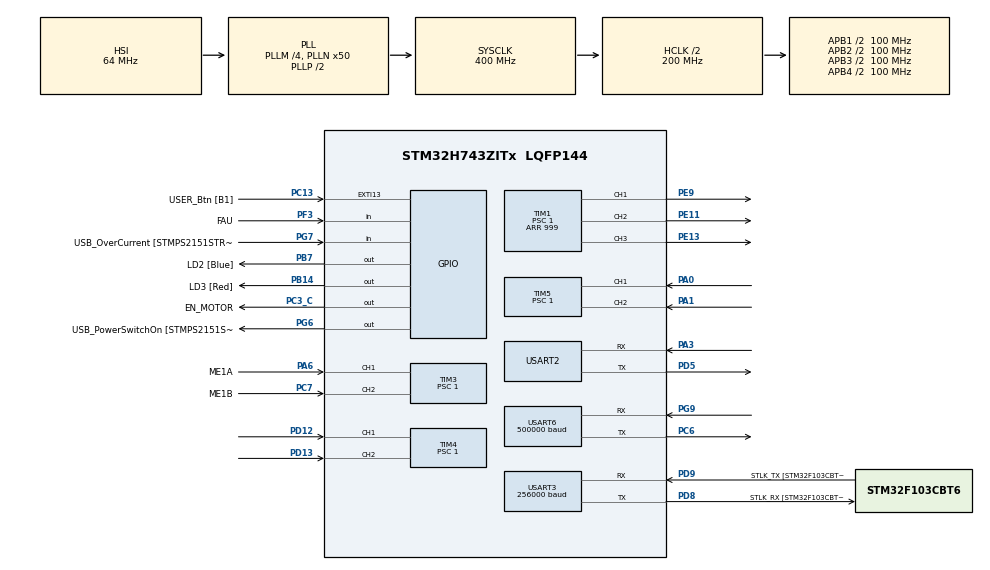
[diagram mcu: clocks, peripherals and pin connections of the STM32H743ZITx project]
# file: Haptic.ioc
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Mcu.Family=STM32H7
Mcu.Name=STM32H743ZITx
Mcu.Package=LQFP144
NVIC.EXTI15_10_IRQn=true\:2\:1\:true\:false\:true\:true\:true
NVIC.PriorityGroup=NVIC_PRIORITYGROUP_2
NVIC.TIM16_IRQn=true\:3\:2\:true\:false\:true\:true\:true
NVIC.TIM3_IRQn=true\:1\:0\:true\:false\:true\:true\:true
NVIC.TIM4_IRQn=true\:1\:0\:true\:false\:true\:true\:true
NVIC.TIM5_IRQn=true\:1\:0\:true\:false\:true\:true\:true
NVIC.TIM8_TRG_COM_TIM14_IRQn=true\:2\:0\:true\:false\:true\:true\:true
NVIC.USART2_IRQn=true\:2\:0\:true\:false\:true\:true\:true
NVIC.USART3_IRQn=true\:3\:0\:true\:false\:true\:true\:true
NVIC.USART6_IRQn=true\:2\:3\:true\:false\:true\:true\:true
PA0.Signal=S_TIM5_CH1
PA1.Signal=S_TIM5_CH2
PA10.GPIO_Label=USB_ID
PA10.Signal=USB_OTG_FS_ID
PA11.GPIO_Label=USB_DM
PA11.Signal=USB_OTG_FS_DM
PA12.GPIO_Label=USB_DP
PA12.Signal=USB_OTG_FS_DP
PA3.Mode=Asynchronous
PA3.Signal=USART2_RX
PA6.GPIO_Label=ME1A
PA6.Signal=S_TIM3_CH1
PA7.GPIO_Label=RMII_CRS_DV
PA7.Signal=ETH_CRS_DV
PA8.GPIO_Label=USB_SOF [TP1]
PA8.Signal=USB_OTG_FS_SOF
PA9.GPIO_Label=USB_VBUS
PA9.Signal=USB_OTG_FS_VBUS
PB13.GPIO_Label=RMII_TXD1
PB13.Signal=ETH_TXD1
PB14.GPIO_Label=LD3 [Red]
PB14.Signal=GPIO_Output
PB7.GPIO_Label=LD2 [Blue]
PB7.Signal=GPIO_Output
PC1.GPIO_Label=RMII_MDC
PC1.Signal=ETH_MDC
PC13.GPIO_Label=USER_Btn [B1]
PC13.Signal=GPXTI13
PC14-OSC32_IN\ (OSC32_IN).Signal=RCC_OSC32_IN
PC15-OSC32_OUT\ (OSC32_OUT).Signal=RCC_OSC32_OUT
PC3_C.GPIO_Label=EN_MOTOR
PC3_C.Signal=GPIO_Output
PC4.GPIO_Label=RMII_RXD0
PC4.Signal=ETH_RXD0
PC5.GPIO_Label=RMII_RXD1
PC5.Signal=ETH_RXD1
PC6.Mode=Asynchronous
PC6.Signal=USART6_TX
PC7.GPIO_Label=ME1B
PC7.Signal=S_TIM3_CH2
PD12.Signal=S_TIM4_CH1
PD13.Signal=S_TIM4_CH2
PD5.Mode=Asynchronous
PD5.Signal=USART2_TX
PD8.GPIO_Label=STLK_RX [STM32F103CBT6_PA3]
PD8.Mode=Asynchronous
PD8.Signal=USART3_TX
PD9.GPIO_Label=STLK_TX [STM32F103CBT6_PA2]
PD9.Mode=Asynchronous
PD9.Signal=USART3_RX
PE11.Signal=S_TIM1_CH2
PE13.Signal=S_TIM1_CH3
PE9.Signal=S_TIM1_CH1
PF3.GPIO_Label=FAU
PF3.Signal=GPIO_Input
PG11.GPIO_Label=RMII_TX_EN
PG11.Signal=ETH_TX_EN
PG13.GPIO_Label=RMII_TXD0
PG13.Signal=ETH_TXD0
PG6.GPIO_Label=USB_PowerSwitchOn [STMPS2151STR_EN]
PG6.Signal=GPIO_Output
PG7.GPIO_Label=USB_OverCurrent [STMPS2151STR_FAULT]
PG7.Signal=GPIO_Input
PG9.Mode=Asynchronous
PG9.Signal=USART6_RX
PH0-OSC_IN\ (PH0).GPIO_Label=MCO
PH0-OSC_IN\ (PH0).Signal=RCC_OSC_IN
ProjectManager.HeapSize=0x400
ProjectManager.StackSize=0x2B00
ProjectManager.TargetToolchain=MDK-ARM V5
RCC.48MHZClocksFreq_Value=24000000
RCC.ADCFreq_Value=129000000
RCC.AHBFreq_Value=216000000
RCC.APB1CLKDivider=RCC_HCLK_DIV4
RCC.APB1Freq_Value=100000000
RCC.APB1TimFreq_Value=108000000
RCC.APB2CLKDivider=RCC_HCLK_DIV2
RCC.APB2Freq_Value=100000000
RCC.APB2TimFreq_Value=216000000
RCC.APB3Freq_Value=100000000
RCC.APB4Freq_Value=100000000
RCC.CortexFreq_Value=400000000
RCC.D1PPRE=RCC_APB3_DIV2
RCC.D2PPRE1=RCC_APB1_DIV2
RCC.D2PPRE2=RCC_APB2_DIV2
RCC.D3PPRE=RCC_APB4_DIV2
RCC.DIVM1=4
RCC.DIVN1=50
RCC.DIVQ1=4
RCC.HCLKFreq_Value=200000000
RCC.HPRE=RCC_HCLK_DIV2
RCC.HSE_VALUE=8000000
RCC.HSI_VALUE=64000000
RCC.PLLM=25
RCC.PLLMUL=RCC_PLL_MUL9
RCC.PLLN=432
RCC.PLLQ=9
RCC.PRESCALERUSB=RCC_USBCLKSOURCE_PLL_DIV1_5
RCC.PWR_Regulator_Voltage_Scale=PWR_REGULATOR_VOLTAGE_SCALE1
RCC.SYSCLKFreq_VALUE=400000000
RCC.SYSCLKSource=RCC_SYSCLKSOURCE_PLLCLK
RCC.SYSCLKSourceVirtual=RCC_SYSCLKSOURCE_PLLCLK
RCC.USBFreq_Value=200000000
RCC.VCOOutputFreq_Value=432000000
SH.S_TIM1_CH1.0=TIM1_CH1,PWM Generation1 CH1
SH.S_TIM1_CH2.0=TIM1_CH2,PWM Generation2 CH2
SH.S_TIM1_CH3.0=TIM1_CH3,PWM Generation3 CH3
SH.S_TIM3_CH1.0=TIM3_CH1,Encoder_Interface
SH.S_TIM3_CH2.0=TIM3_CH2,Encoder_Interface
SH.S_TIM4_CH1.0=TIM4_CH1,Encoder_Interface
SH.S_TIM4_CH2.0=TIM4_CH2,Encoder_Interface
SH.S_TIM5_CH1.0=TIM5_CH1,Encoder_Interface
SH.S_TIM5_CH2.0=TIM5_CH2,Encoder_Interface
TIM1.Channel-PWM\ Generation1\ CH1=TIM_CHANNEL_1
TIM1.Channel-PWM\ Generation2\ CH2=TIM_CHANNEL_2
TIM1.Channel-PWM\ Generation3\ CH3=TIM_CHANNEL_3
TIM1.OCPolarity_2=TIM_OCPOLARITY_LOW
TIM1.Period=999
TIM1.Prescaler=1
TIM1.Pulse-PWM\ Generation1\ CH1=500
TIM1.Pulse-PWM\ Generation2\ CH2=500
TIM1.Pulse-PWM\ Generation3\ CH3=500
TIM14.Period=249
TIM14.Prescaler=199
TIM16.Period=999
TIM16.Prescaler=1999
TIM3.EncoderMode=TIM_ENCODERMODE_TI12
TIM3.IC1Filter=5
TIM3.IC2Filter=5
TIM3.Period=65535
TIM3.Prescaler=1
TIM4.EncoderMode=TIM_ENCODERMODE_TI12
TIM4.IC1Filter=5
TIM4.IC2Filter=5
TIM4.Period=65535
TIM4.Prescaler=1
TIM5.EncoderMode=TIM_ENCODERMODE_TI12
TIM5.IC1Filter=5
TIM5.IC2Filter=5
TIM5.Period=65535
TIM5.Prescaler=1
USART2.VirtualMode-Asynchronous=VM_ASYNC
USART3.BaudRate=256000
USART3.VirtualMode-Asynchronous=VM_ASYNC
USART6.BaudRate=500000
USART6.DMADisableonRxErrorParam=ADVFEATURE_DMA_DISABLEONRXERROR
USART6.VirtualMode-Asynchronous=VM_ASYNC
VP_TIM14_VS_ClockSourceINT.Mode=Enable_Timer
VP_TIM16_VS_ClockSourceINT.Mode=Enable_Timer
board=NUCLEO-H743ZI

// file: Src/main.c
/* USER CODE BEGIN Header */
/**
  ******************************************************************************
  * @file           : main.c
  * @brief          : Main program body
  ******************************************************************************
  ** This notice applies to any and all portions of this file
  * that are not between comment pairs USER CODE BEGIN and
  * USER CODE END. Other portions of this file, whether
  * inserted by the user or by software development tools
  * are owned by their respective copyright owners.
  *
  * COPYRIGHT(c) 2018 STMicroelectronics
  *
  * Redistribution and use in source and binary forms, with or without modification,
  * are permitted provided that the following conditions are met:
  *   1. Redistributions of source code must retain the above copyright notice,
  *      this list of conditions and the following disclaimer.
  *   2. Redistributions in binary form must reproduce the above copyright notice,
  *      this list of conditions and the following disclaimer in the documentation
  *      and/or other materials provided with the distribution.
  *   3. Neither the name of STMicroelectronics nor the names of its contributors
  *      may be used to endorse or promote products derived from this software
  *      without specific prior written permission.
  *
  * THIS SOFTWARE IS PROVIDED BY THE COPYRIGHT HOLDERS AND CONTRIBUTORS "AS IS"
  * AND ANY EXPRESS OR IMPLIED WARRANTIES, INCLUDING, BUT NOT LIMITED TO, THE
  * IMPLIED WARRANTIES OF MERCHANTABILITY AND FITNESS FOR A PARTICULAR PURPOSE ARE
  * DISCLAIMED. IN NO EVENT SHALL THE COPYRIGHT HOLDER OR CONTRIBUTORS BE LIABLE
  * FOR ANY DIRECT, INDIRECT, INCIDENTAL, SPECIAL, EXEMPLARY, OR CONSEQUENTIAL
  * DAMAGES (INCLUDING, BUT NOT LIMITED TO, PROCUREMENT OF SUBSTITUTE GOODS OR
  * SERVICES; LOSS OF USE, DATA, OR PROFITS; OR BUSINESS INTERRUPTION) HOWEVER
  * CAUSED AND ON ANY THEORY OF LIABILITY, WHETHER IN CONTRACT, STRICT LIABILITY,
  * OR TORT (INCLUDING NEGLIGENCE OR OTHERWISE) ARISING IN ANY WAY OUT OF THE USE
  * OF THIS SOFTWARE, EVEN IF ADVISED OF THE POSSIBILITY OF SUCH DAMAGE.
  *
  ******************************************************************************
  */
/* USER CODE END Header */

#include "main.h"
#include "tim.h"
#include "usart.h"
#include "gpio.h"

/* USER CODE BEGIN PTD */
#define __FPU_PRESENT 1		//FPU present
/* USER CODE END PTD */

/* USER CODE BEGIN PV */
Moter_t M1,M2,M3;
Ctrl_t	Ctrl,CtrlM1,CtrlM2,CtrlM3;	//Ctrl 控制的总结构体  CtrlM1..M3  电机控制结构体

unsigned int gErrorStatus;	//全局变量   用来显示错误提示
double Val_1,Val_2;

extern uint8_t RXBuffer[1];
extern uint8_t RXBuffer_3[1];
extern uint8_t RXBuffer_6[RxSize];

extern int Data1[],Data2[];
extern char FlagRecord,FlagPrint,FlagDebug;
extern unsigned int DataNumm;
extern unsigned char Uart3FeedBackData[];

extern var_t var;
extern var_q varq;
extern var_q TempLq;
extern force_t F1,F2,F3;
extern MotorGriverForce_t MotorForce;
extern char CalcOverFlag;

uint32_t FLASH_Address = 0, PageError = 0;
__IO uint32_t data32 = 0 , MemoryProgramStatus = 0;

unsigned int FLASH_Store[FLASHSIZE];	//修改FLASH时临时存储数组
unsigned int FLASH_Init[FLASHSIZE]={
	0,	//产品型号											1
	0,	//软件版本											2
	0,	//机械结构版本										3
	0,	//电路硬件版本										4

//状态参数
	500,	//PWMMID-ui  	电机零扭力参考PWM值					5
	15,	//PULL_PWM-ui	电机同向推拉时 增加的pwm值			6
	28,	//SigPWMPulse-ui 检测到转动后  单电机摩擦力补偿		7
	30,	//StopPwm-ui	检测到静止时  正反向的摩擦力波动	8
	88,	//PLPH_Para_k-f	推拉随速度变化力补偿值 一次函数 k值	9
	4,	//PLPH_Para_b-i										10
			//return (float)(0.PLPH_Para_k*sp+PLPH_Para_b);  返回本项计算PWM值
	11,	//Griver_Para-f	  重力补偿  电机力 mN 和 PWM之间的对应关系	11
	40,	//InertiaPara-f   惯性力计算 与加速度相乘的系数		12
	0x00,	//LED1Blue

	0x00,	//Led2Red		14
	0x00,
	0x00,

	0x00,	//Led3Red		17
	0x00,

	0x00,	//HardWare Version	29
	0x00,	//SoftWare Version	30
	0x00,	//HardWare Version	29
	0x00,	//SoftWare Version	30
	0x00,	//HardWare Version	29
	0x00	//SoftWare Version	30
};

const unsigned int TEXT_Buffer[]={0x00,0x02,0x03,0x55,0x78,0x56};
#define TEXT_LENTH sizeof(TEXT_Buffer)	 		  	//数组长度
#define SIZE TEXT_LENTH/4+((TEXT_LENTH%4)?1:0)

#define FLASH_SAVE_ADDR  0X08020000 	//设置FLASH 保存地址(必须为4的倍数，且所在扇区,要大于本代码所占用到的扇区.
										//否则,写操作的时候,可能会导致擦除整个扇区,从而引起部分程序丢失.引起死机.

/* USER CODE END PV */

void SystemClock_Config(void);

int main(void)
{

  /* MCU Configuration--------------------------------------------------------*/

  /* Reset of all peripherals, Initializes the Flash interface and the Systick. */
  HAL_Init();

  /* Configure the system clock */
  SystemClock_Config();

  /* Initialize all configured peripherals */
  MX_GPIO_Init();
  MX_USART2_UART_Init();
  MX_TIM1_Init();
  MX_TIM3_Init();
  MX_TIM14_Init();
  MX_TIM4_Init();
  MX_TIM5_Init();
  MX_USART3_UART_Init();
  MX_TIM16_Init();
  MX_USART6_UART_Init();
  /* USER CODE BEGIN 2 */
  	HAL_UART_Receive_IT(&huart2, (uint8_t *)RXBuffer, 1); //打开中断接收
	HAL_UART_Receive_IT(&huart3, (uint8_t *)RXBuffer_3, 1); //打开中断接收
	HAL_UART_Receive_IT(&huart6, (uint8_t *)RXBuffer_6, 1); //打开中断接收
	//HAL_UART_Receive_DMA(&huart6, (uint8_t *)&RXBuffer_6, RxSize);// 打开DMA接收数据

	HAL_TIM_Base_Start_IT(&htim3);
	HAL_TIM_Base_Start_IT(&htim4);
	HAL_TIM_Base_Start_IT(&htim5);

	HAL_TIM_PWM_Start(&htim1,TIM_CHANNEL_1);
	HAL_TIM_PWM_Start(&htim1,TIM_CHANNEL_2);
	HAL_TIM_PWM_Start(&htim1,TIM_CHANNEL_3);

	ParaInit();
	char mm,Flag_blank = 0;	//FLASH是否为空白  标志	;
	int Flash_Value;
	 HAL_StatusTypeDef FlashStatus=HAL_OK;
	FLASH_Address = FLASH_USER_START_ADDR;
	for(mm=0;mm<FLASHSIZE;mm++)	{
			Flash_Value = *(int*)(FLASH_USER_START_ADDR+(mm)*4);
			if((Flash_Value==-1)&&(Flag_blank==0))
				Flag_blank = 0;		//此FLASH区域为空白
			else 	{
				Flag_blank = 1;  //非空白
				break;
			}
		}
	if(Flag_blank==0)	{
		STMFLASH_Write(FLASH_USER_START_ADDR,(u32*)FLASH_Init,FLASHSIZE);
	}

	HAL_Delay(20);

	HAL_TIM_Base_Start_IT(&htim14); //最后开启250us中断处理
	HAL_TIM_Base_Start_IT(&htim16); //开启10ms的 重力补偿中断

  /* USER CODE END 2 */

  /* Infinite loop */
  /* USER CODE BEGIN WHILE */

//  CalcTest();
//  while(1);

//	KinematicTest();

	unsigned int numm,kk;
//  for(numm=0;numm<20;numm++)
//	{
//		HAL_GPIO_WritePin(LD2_GPIO_Port,LD2_Pin,GPIO_PIN_SET);
//		for(kk=0;kk<10;kk++)
//		{
//				varq.q1 = 271;  varq.q2 = 251; varq.q3 = 281;
//				ForwardKinematic();
//				CPointSolve(var);
//				FbSolve();
//	//			CtrlM1.Gravity = F1.Fx;
//	//			CtrlM2.Gravity = F2.Fx;
//	//			CtrlM3.Gravity = F3.Fx;
//		}
//		HAL_GPIO_WritePin(LD2_GPIO_Port,LD2_Pin,GPIO_PIN_RESET);
//
//		HAL_Delay(1);
//		printf("F1 = %6.3f  F2 = %6.3f  F3 = %6.3f \n",F1.Fx,F2.Fx,F3.Fx);
//		PrintVarStruct(var,varq);
//	}

  while (1)
  {
	  HAL_GPIO_WritePin(LD2_GPIO_Port,LD2_Pin,GPIO_PIN_SET);
	  HAL_Delay(200);
	  HAL_GPIO_WritePin(LD2_GPIO_Port,LD2_Pin,GPIO_PIN_RESET);
	  HAL_Delay(200);

	  if(FlagPrint==1&&FlagDebug==1)
	  {
		  BoardEn(0);
		  FlagPrint = 0;
		  FlagRecord = 0;
		  FlagDebug = 0;
		  DataNumm = 0;
		 //关闭定时器中断
		  HAL_TIM_Base_Stop_IT(&htim14);
		  for(numm=0;numm<DataNum;numm++)	{
			printf("   %3d   %4d  %4d \n",numm,Data1[numm],Data2[numm]);
		  }
		  printf("数据输出完毕！ \n");
		  for(numm=0;numm<DataNum;numm++)	{
			  Data1[numm] = 0;
			  Data2[numm] = 0;
		  }
		  HAL_TIM_Base_Start_IT(&htim14); //最后开启250us中断处理
	  }

//	  M2.EnCounter = (M2.EnOverflowNum)*ENCODER_NUM+( int16_t )__HAL_TIM_GET_COUNTER(&htim3);
    /* USER CODE END WHILE */

  }
}

void SystemClock_Config(void)
{
  RCC_OscInitTypeDef RCC_OscInitStruct = {0};
  RCC_ClkInitTypeDef RCC_ClkInitStruct = {0};
  RCC_PeriphCLKInitTypeDef PeriphClkInitStruct = {0};

  /** Supply configuration update enable
  */
  HAL_PWREx_ConfigSupply(PWR_LDO_SUPPLY);
  /** Configure the main internal regulator output voltage
  */
  __HAL_PWR_VOLTAGESCALING_CONFIG(PWR_REGULATOR_VOLTAGE_SCALE1);

  while(!__HAL_PWR_GET_FLAG(PWR_FLAG_VOSRDY)) {}
  /** Initializes the CPU, AHB and APB busses clocks
  */
  RCC_OscInitStruct.OscillatorType = RCC_OSCILLATORTYPE_HSI;
  RCC_OscInitStruct.HSIState = RCC_HSI_DIV1;
  RCC_OscInitStruct.HSICalibrationValue = RCC_HSICALIBRATION_DEFAULT;
  RCC_OscInitStruct.PLL.PLLState = RCC_PLL_ON;
  RCC_OscInitStruct.PLL.PLLSource = RCC_PLLSOURCE_HSI;
  RCC_OscInitStruct.PLL.PLLM = 4;
  RCC_OscInitStruct.PLL.PLLN = 50;
  RCC_OscInitStruct.PLL.PLLP = 2;
  RCC_OscInitStruct.PLL.PLLQ = 4;
  RCC_OscInitStruct.PLL.PLLR = 2;
  RCC_OscInitStruct.PLL.PLLRGE = RCC_PLL1VCIRANGE_3;
  RCC_OscInitStruct.PLL.PLLVCOSEL = RCC_PLL1VCOWIDE;
  RCC_OscInitStruct.PLL.PLLFRACN = 0;
  if (HAL_RCC_OscConfig(&RCC_OscInitStruct) != HAL_OK)
  {
    Error_Handler();
  }
  /** Initializes the CPU, AHB and APB busses clocks
  */
  RCC_ClkInitStruct.ClockType = RCC_CLOCKTYPE_HCLK|RCC_CLOCKTYPE_SYSCLK
                              |RCC_CLOCKTYPE_PCLK1|RCC_CLOCKTYPE_PCLK2
                              |RCC_CLOCKTYPE_D3PCLK1|RCC_CLOCKTYPE_D1PCLK1;
  RCC_ClkInitStruct.SYSCLKSource = RCC_SYSCLKSOURCE_PLLCLK;
  RCC_ClkInitStruct.SYSCLKDivider = RCC_SYSCLK_DIV1;
  RCC_ClkInitStruct.AHBCLKDivider = RCC_HCLK_DIV2;
  RCC_ClkInitStruct.APB3CLKDivider = RCC_APB3_DIV2;
  RCC_ClkInitStruct.APB1CLKDivider = RCC_APB1_DIV2;
  RCC_ClkInitStruct.APB2CLKDivider = RCC_APB2_DIV2;
  RCC_ClkInitStruct.APB4CLKDivider = RCC_APB4_DIV2;

  if (HAL_RCC_ClockConfig(&RCC_ClkInitStruct, FLASH_LATENCY_2) != HAL_OK)
  {
    Error_Handler();
  }
  PeriphClkInitStruct.PeriphClockSelection = RCC_PERIPHCLK_USART3|RCC_PERIPHCLK_USART2
                              |RCC_PERIPHCLK_USART6;
  PeriphClkInitStruct.Usart234578ClockSelection = RCC_USART234578CLKSOURCE_D2PCLK1;
  PeriphClkInitStruct.Usart16ClockSelection = RCC_USART16CLKSOURCE_D2PCLK2;
  if (HAL_RCCEx_PeriphCLKConfig(&PeriphClkInitStruct) != HAL_OK)
  {
    Error_Handler();
  }
}

/* USER CODE BEGIN 4 */

void ParaInit(void)
{
	EncoderClear();
	CtrlStruct_Init();
	var = VarDataInit(var);
}

void EncoderClear(void)
{
	//结构体初始化
	M1.EnCounter = M1.EnOverflowNum = 0;

	M2.EnCounter = M2.EnOverflowNum = 0;

	M3.EnCounter = M3.EnOverflowNum = 0;

	__HAL_TIM_SET_COUNTER(&htim3,0);
	__HAL_TIM_SET_COUNTER(&htim4,0);
	__HAL_TIM_SET_COUNTER(&htim5,0);
	//溢出值需要清零 在打开TIM3中断后会进入一次全局中断
	M1.EnOverflowNum = M2.EnOverflowNum = M3.EnOverflowNum = 0;
}
void CtrlStruct_Init(void)
{
	unsigned char DynFriFlag,GraFlag,InerFlag,StaFriFlag;
	DynFriFlag = 0;
	StaFriFlag = 0;		//静摩擦 尝试补偿  ==1  会有高频的噪声  效果不突出
	GraFlag = 1;
	InerFlag = 0;

	CtrlM1.DynFriFlag=DynFriFlag;
	CtrlM1.StaFriFlag = StaFriFlag;
	CtrlM1.GraFlag = GraFlag;
	CtrlM1.InerFlag = InerFlag;

	CtrlM2.DynFriFlag = DynFriFlag;
	CtrlM2.StaFriFlag = StaFriFlag;
	CtrlM2.GraFlag = GraFlag;
	CtrlM2.InerFlag = InerFlag;

	CtrlM3.DynFriFlag = DynFriFlag;
	CtrlM3.StaFriFlag  =StaFriFlag;
	CtrlM3.GraFlag = GraFlag;
	CtrlM3.InerFlag = InerFlag;

}
void KinematicTest()
{
	HAL_GPIO_WritePin(LD2_GPIO_Port,LD2_Pin,GPIO_PIN_SET);

	varq.q1 = 261;  varq.q2 = 261; varq.q3 = 261;
	ForwardKinematic();
	CPointSolve(var);
	FbSolve();

	HAL_GPIO_WritePin(LD2_GPIO_Port,LD2_Pin,GPIO_PIN_RESET);
	printf("F1 = %6.3f  F2 = %6.3f  F3 = %6.3f \n",F1.Fx,F2.Fx,F3.Fx);
	PrintVarStruct(var,varq);
	while(1);
}

void Kinematic(void)
{
	char Status = 0;
	CalcOverFlag = 0;
	Status = InputDataCheck(&var,&varq);
	if(Status==0)	{
		ForwardKinematic();
		CPointSolve(var);
		FbSolve();
	}
	Status = OutputDataCheck(&F1,&F2,&F3);

	if(Status==0)	{
		MotorForce.F1 = F1.Fx;
		MotorForce.F2 = F2.Fx;
		MotorForce.F3 = F3.Fx;
	}

//	printf("F1 = %6.3f  F2 = %6.3f  F3 = %6.3f \n",F1.Fx,F2.Fx,F3.Fx);
//	PrintVarStruct(var,varq);

	CalcOverFlag = 1;
}

/*输入运动学算法的数据的检验  约束
1.上一次的角度变量
2.杆长变量
*/
char InputDataCheck(var_t *var_i,var_q *varq_i)
{
	char Status = 0;
	const static float ang = 1.2;
	//0.872  转化为角度是 50度  输入的迭代初值大于50度 认为超出平台姿态范围
	if((var_i->alpha) < (-ang) | (var_i->alpha)> (ang))	{
		Status |= (1<<0);
		var_i->alpha = 0;
	}
	if((var_i->beta) < (-ang) | (var_i->beta)> (ang))	{
		Status |= (1<<1);
		var_i->beta = 0;
	}
	if((var_i->gama) < (-ang) | (var_i->gama)> (ang))	{
		Status |= (1<<2);
		var_i->gama = 0;
	}

	if( (varq_i->q1)<170 | (varq_i->q1)>330 )
		Status |= (1<<3);
	if( (varq_i->q2)<85 | (varq_i->q2)>290 )
		Status |= (1<<4);
	if( (varq_i->q3)<140 | (varq_i->q3)>330 )
		Status |= (1<<5);
	if(Status!=0)	//data out of range
	{
		#ifdef DebugStatusOutput
			printf("InputDataCheck Status = %c \n",Status);
		#endif
	}
	return Status;
}

/*检查输出结果  力的大小*/
char OutputDataCheck(force_t *force1,force_t *force2,force_t *force3)
{
	char Status = 0;
	const static int GriverRange = 250;		//PWM值  即 重力得出的 力的值  不允许大于 250 PWM
	if( (force1->Fx)>GriverRange/Griver_Para | (force1->Fx)< -GriverRange/Griver_Para)
		Status |= (1<<0);
	if( (force2->Fx)>GriverRange/Griver_Para | (force2->Fx)< -GriverRange/Griver_Para)
		Status |= (1<<1);
	if( (force3->Fx)>GriverRange/Griver_Para | (force3->Fx)< -GriverRange/Griver_Para)
		Status |= (1<<2);

	if(Status!=0)	//data out of range
	{
		#ifdef DebugStatusOutput
			printf("OutputDataCheck Status = %c \n",Status);
		#endif
	}

	return Status;
}

/* USER CODE END 4 */

void Error_Handler(void)
{
}

/************************ (C) COPYRIGHT STMicroelectronics *****END OF FILE****/
